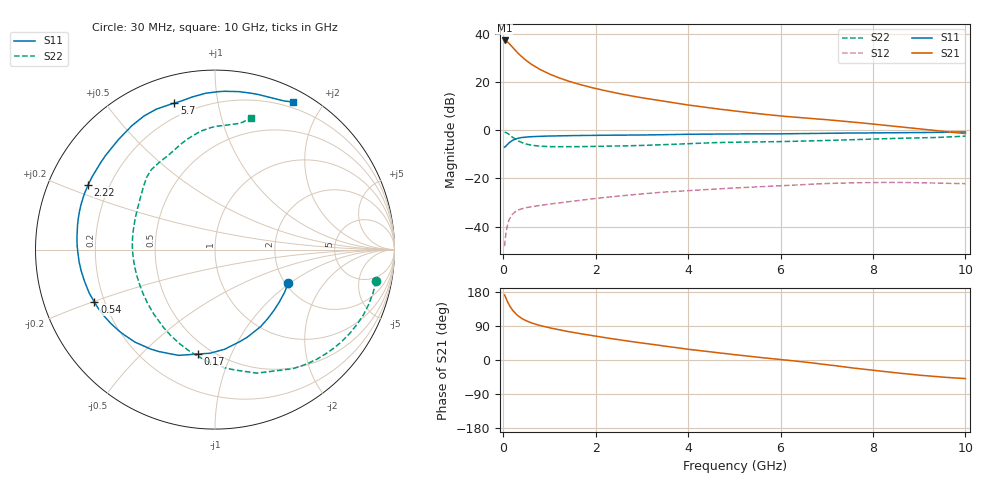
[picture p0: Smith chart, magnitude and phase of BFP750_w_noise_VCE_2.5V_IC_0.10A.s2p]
! Infineon Technologies  Discrete & RF Semiconductors
! BFP750
! VCE =  2.5 V,  IC = 0.10 A
! Common Emitter S-Parameters:  Jan 2016
# GHz  S  MA  R  50
!  f  S11  S21  S12  S22
! GHz  MAG  ANG  MAG  ANG  MAG  ANG  MAG  ANG
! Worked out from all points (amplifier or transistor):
!   229 points, 30 MHz to 10 GHz, reference 50 ohm
!   highest |S21| = 37.4 dB at 30 MHz (marker M1)
!   |S21| within 3 dB of that: start of sweep to 210.2 MHz
!   unconditionally stable (mu >= 1): 3.028 GHz to end of sweep
!   at 280 MHz: K = 0.23, MSG = 33.3 dB, |S12| = -33.6 dB
!   at 1.78 GHz: K = 0.81, MSG = 23.7 dB, |S12| = -28.8 dB
!   at 10 GHz: K = 1.05, MAG = 9.1 dB, |S12| = -22.2 dB
!   lowest NFmin = 1.57 dB at 450 MHz
!   S11 on the Smith chart (normalised r, x): 30 MHz: 2.08, -0.96; 170 MHz: 0.42, -0.75; 540 MHz: 0.16, -0.20; 2.22 GHz: 0.12, +0.24; 5.7 GHz: 0.13, +0.75; 10 GHz: 0.13, +1.65
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0.03  0.4482 -24.4  74.51 171.8  0.0039 77.8  0.9134 -11.0
0.05  0.4629 -39.6  73.86 165.4  0.0062 73.3  0.9091 -19.7
0.07  0.4843 -52.8  71.98 159.8  0.0084 69.5  0.8935 -28.0
0.1  0.5205 -70.0  68.34 152.0  0.0114 63.8  0.8603 -39.6
0.13  0.5574 -84.3  64.02 145.0  0.0139 58.3  0.8205 -50.3
0.17  0.5901 -99.5  58.2 137.3  0.0164 52.1  0.7604 -62.3
0.2  0.6235 -109.1  54.07 131.6  0.018 48.5  0.7266 -71.3
0.24  0.648 -118.7  49.06 126.1  0.0196 44.6  0.6793 -80.8
0.3  0.6814 -130.8  42.46 118.6  0.0215 39.8  0.625 -93.8
0.4  0.7109 -144.3  34.21 109.8  0.0234 35.0  0.5609 -110.4
0.54  0.7326 -156.6  26.65 101.6  0.0251 31.5  0.5094 -127.0
0.7  0.7481 -166.3  20.94 94.4  0.0266 29.7  0.4809 -141.1
1  0.7639 -178.5  14.9 84.9  0.0292 29.1  0.4609 -158.3
1.3  0.774 172.8  11.53 77.5  0.0318 29.3  0.4572 -169.8
1.7  0.7855 163.4  8.814 68.9  0.0355 29.4  0.4603 179.1
2.22  0.7939 152.9  6.667 58.6  0.0404 28.4  0.4672 167.5
3.4  0.8122 132.8  4.142 38.3  0.0513 23.3  0.5019 146.7
5.1  0.8472 111.6  2.478 12.9  0.0641 13.0  0.5705 127.4
5.7  0.8472 105.5  2.139 5.0  0.0683 9.0  0.579 120.4
6.8  0.8666 95.5  1.729 -9.4  0.0768 0.6  0.6102 109.6
8.4  0.8946 76.8  1.241 -32.5  0.0826 -15.1  0.6805 91.8
10  0.9304 62.2  0.86 -49.0  0.0779 -27.2  0.7604 74.9
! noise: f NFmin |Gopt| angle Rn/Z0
0.45  1.57  0.34  -169  0.3
0.9  1.58  0.42  -164  0.15
1.5  1.6  0.52  -154  0.09
1.9  1.6  0.53  -148  0.1
2.4  1.6  0.53  -141  0.13
3.5  1.86  0.53  -124  0.19
